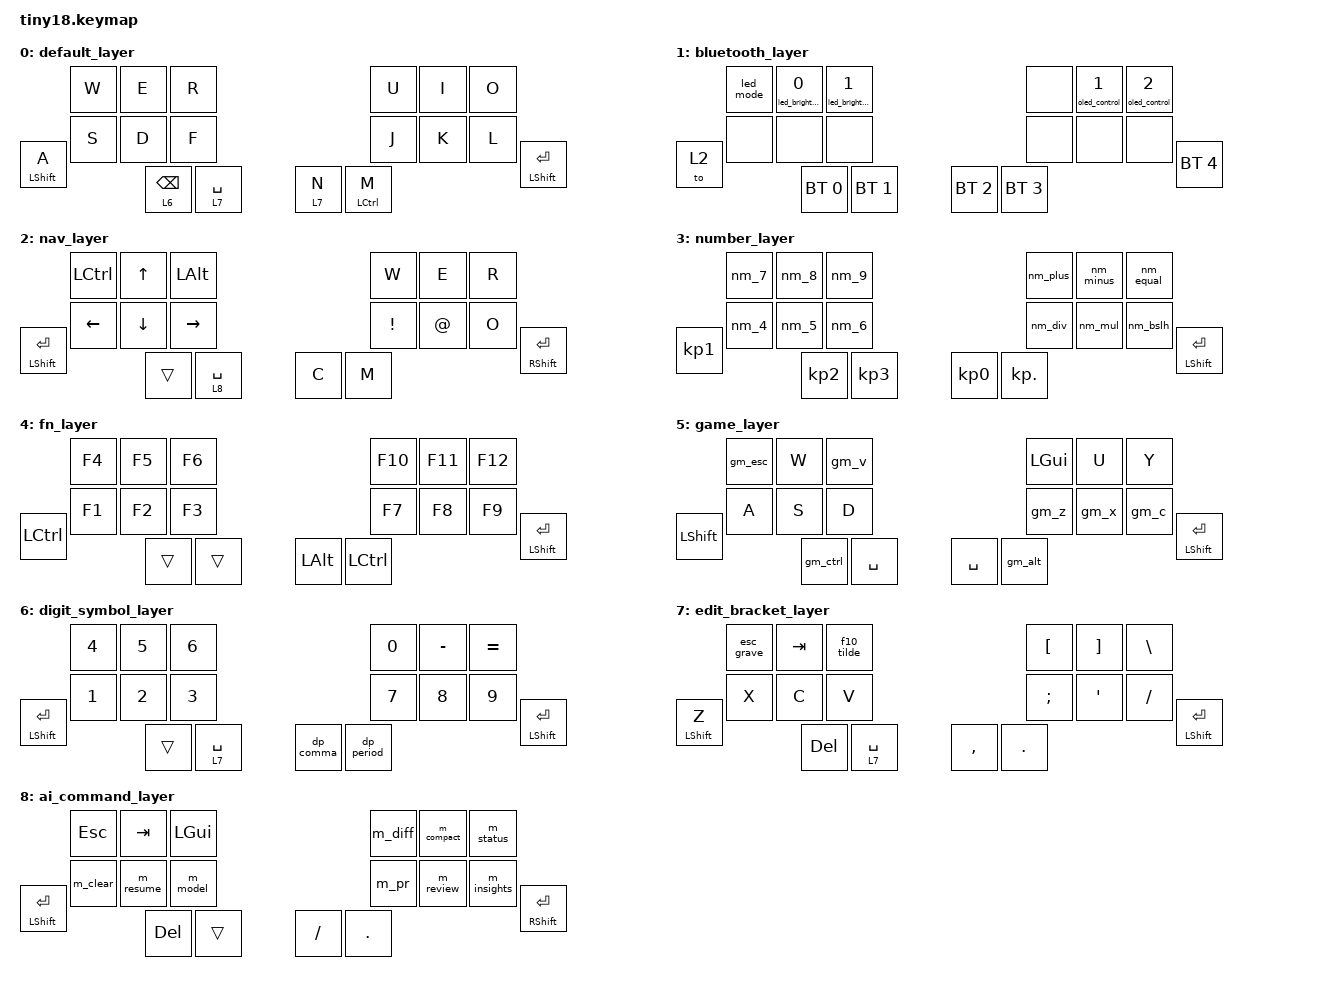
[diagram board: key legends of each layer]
#include <input/processors.dtsi>
#include <dt-bindings/zmk/input_transform.h>
#include <zephyr/dt-bindings/input/input-event-codes.h>
#include <behaviors.dtsi>
#include <dt-bindings/zmk/bt.h>
#include <dt-bindings/zmk/keys.h>

/*
 * The right-hand image is tiny18-right.uf2. AI mode has modifiers and
 * arrows on the left hand and letters, ! and @ on the right. Holding its
 * Space opens the AI command page.
 *
 * Six modes, entered by one pair of keys from supported non-Bluetooth modes:
 *   text entry  layer 0   green     0+2
 *   AI          layer 2   blue      7+9
 *   number      layer 3   yellow    10+12
 *   function    layer 4   magenta   3+5
 *   game        layer 5   cyan      2+7
 *   bluetooth   layer 1   red       5+10
 * 7+9 is left out of game mode, where those two keys are A and D, and so is
 * 2+7: from game mode it would only re-enter game mode and eat a V+A.
 * In Bluetooth mode, key 6 alone returns to AI. Mode-switch combos are
 * disabled there so profile selection cannot be confused with a mode change.
 *
 * Layers held rather than switched into:
 *   6  digits and symbols    hold key 14 (BackSpace)
 *   7  editing and brackets  hold key 15 (Space) or 16 (N) outside AI
 *   8  AI commands           hold key 15 (Space) in AI
 * They carry the two highest numbers on purpose. ZMK resolves a key from the
 * highest active layer down, so a held page only shows through a mode with
 * a lower number; at 6 and 7 the pages open from every mode whose thumbs
 * still hold them, which is all of them but number and game mode.
 *
 * In text entry, Alt remains the 2+9 chord and GUI the 3+10 chord.
 * AI has dedicated left Ctrl and Alt; its command page has GUI.
 * The IME toggle is E and F, 1+9, in text entry only.
 *
 * Key positions (see tiny18.dtsi default_transform):
 *         0   1   2         3   4   5
 *   6     7   8   9        10  11  12  13
 *         14  15           16  17
 *
 * The right hand rests on a trackball, so everything used daily has to be
 * reachable with the left nine keys: 0 1 2 6 7 8 9 14 15.
 *
 * An unassigned key is &none, not &trans, so it does nothing rather than
 * falling through to the layer below. The one exception is the pair of left
 * thumbs, keys 14 and 15: most modes inherit BackSpace and Space from
 * text entry. AI binds Space explicitly to its command page, and that
 * page and the ZXCV page put Delete on key 14. Key 13 is
 * Enter on tap and Shift on hold (right Shift in AI and its command page).
 * In text entry, AI mode and on the digit page, key 6 is a tap/hold key with
 * a longer term for the left little finger: A / Shift in text entry and
 * Enter / Shift elsewhere. Function mode holds Ctrl on key 6 instead, and
 * game mode keeps a plain Shift there.
 *
 * Held layers end on key release. Bluetooth leaves through key 6; the other
 * mode layers are left by combo.
 */

/ {
    behaviors {
        /*
         * Tap for the key, hold for the modifier. "balanced" rather than
         * ZMK's default hold-preferred: rolling from Enter straight into the
         * next key must still type Enter, and balanced only resolves to the hold
         * when the second key is released before this one. quick-tap lets a
         * doubled letter through.
         */
        bmt: balanced_mod_tap {
            compatible = "zmk,behavior-hold-tap";
            #binding-cells = <2>;
            flavor = "balanced";
            tapping-term-ms = <200>;
            quick-tap-ms = <175>;
            bindings = <&kp>, <&kp>;
        };

        /* Ctrl dual-role keys prefer text for 400 ms, regardless of another
         * key's release order. This protects every M-to-letter roll, including
         * M then O released before M. Hold for 400 ms to use Ctrl. */
        cmt: ctrl_mod_tap {
            compatible = "zmk,behavior-hold-tap";
            #binding-cells = <2>;
            flavor = "tap-preferred";
            tapping-term-ms = <400>;
            quick-tap-ms = <175>;
            bindings = <&kp>, <&kp>;
        };

        /* On the ZXCV page, tap Z; hold for left Shift after 400 ms.
         * A quick tap followed by another press within 175 ms holds Z for
         * host repeat, matching the letter and Space repeat gestures. */
        zmt: z_shift_mod_tap {
            compatible = "zmk,behavior-hold-tap";
            #binding-cells = <2>;
            flavor = "tap-preferred";
            tapping-term-ms = <400>;
            quick-tap-ms = <175>;
            bindings = <&kp>, <&kp>;
        };

        led_mode: led_mode_behavior {
            compatible = "tiny18,behavior-led-mode";
            #binding-cells = <0>;
            display-name = "Toggle LED mode";
        };

        led_brightness: led_brightness_behavior {
            compatible = "tiny18,behavior-led-brightness";
            #binding-cells = <1>;
            display-name = "Adjust LED brightness";
        };

        oled_control: oled_control_behavior {
            compatible = "tiny18,behavior-oled-control";
            #binding-cells = <1>;
            display-name = "Control OLED";
        };

        /* The left little finger uses 350 ms for A / Shift in text entry and
         * Enter / Shift in AI mode and on the digit page. The longer term
         * avoids turning a deliberate tap into Shift when it is released a
         * little slowly. */
        lmt: left_pinky_mod_tap {
            compatible = "zmk,behavior-hold-tap";
            #binding-cells = <2>;
            flavor = "balanced";
            tapping-term-ms = <350>;
            quick-tap-ms = <175>;
            bindings = <&kp>, <&kp>;
        };

        /*
         * BackSpace. ZMK's stock &lt has no quick-tap window, so holding
         * BackSpace down never repeats: the hold is spoken for by the digit
         * page. quick-tap-ms keeps a second press straight after a tap a tap,
         * so the host repeats it. Everything else stays stock &lt.
         *
         * retro-tap used to be here too, typing BackSpace when a hold went
         * unused. It came out on 2026-09-14: with retro-tap, ZMK does not
         * open the held layer when the tapping term ends but only once another
         * key goes down, so the learning display kept showing the base layer
         * while this thumb was held. If a press held a moment too long
         * deleting nothing turns out to matter more, put retro-tap back and
         * accept the late display.
         */
        blt: backspace_layer_tap {
            compatible = "zmk,behavior-hold-tap";
            #binding-cells = <2>;
            flavor = "tap-preferred";
            tapping-term-ms = <200>;
            quick-tap-ms = <175>;
            bindings = <&mo>, <&kp>;
        };

        /* Match BackSpace: tap Space, then press and hold it within 175 ms to
         * keep Space pressed for host repeat. A first hold still opens layer 7.
         * Use N to open layer 7 immediately after typing a Space. */
        slt: space_layer_tap {
            compatible = "zmk,behavior-hold-tap";
            #binding-cells = <2>;
            flavor = "tap-preferred";
            tapping-term-ms = <200>;
            quick-tap-ms = <175>;
            bindings = <&mo>, <&kp>;
        };

        /* The ZXCV page: Escape normally, the backquote with Shift. Tab
         * has its own key to the right since 2026-11-14. */
        esc_grave: escape_grave {
            compatible = "zmk,behavior-mod-morph";
            #binding-cells = <0>;
            bindings = <&m_esc>, <&kp GRAVE>;
            mods = <(MOD_LSFT|MOD_RSFT)>;
        };

        /* The ZXCV page: F10 normally, the tilde with Shift. Shift+F10
         * stays on function mode, whose F10 is a plain key. */
        f10_tilde: f10_tilde {
            compatible = "zmk,behavior-mod-morph";
            #binding-cells = <0>;
            bindings = <&kp F10>, <&kp TILDE>;
            mods = <(MOD_LSFT|MOD_RSFT)>;
        };

        /*
         * Number mode's second face. Shift is the right little finger there,
         * and holding it turns the twelve keys of the two upper rows into
         * everything a full keyboard has that eighteen keys had no room for:
         * the navigation block on the left, exactly where a full keyboard puts
         * it, and the locks and system keys on the right.
         *
         * A mod-morph rather than another layer keeps the second face tied
         * to the Shift key. The display now carries nine layers separately.
         *
         * Only those twelve keys carry a morph, the ones the learning display
         * drew when this was written (2026-09-16). The thumbs, the left little
         * finger and the Shift key itself were left alone: a key that changes
         * without showing it on the display is a key you cannot learn. The
         * display has drawn all eighteen keys since 2026-09-17, so a morph on
         * those would now show.
         */
        nm_7: nm_7 {
            compatible = "zmk,behavior-mod-morph";
            #binding-cells = <0>;
            bindings = <&kp KP_N7>, <&kp INSERT>;
            mods = <(MOD_LSFT|MOD_RSFT)>;
        };

        nm_8: nm_8 {
            compatible = "zmk,behavior-mod-morph";
            #binding-cells = <0>;
            bindings = <&kp KP_N8>, <&kp HOME>;
            mods = <(MOD_LSFT|MOD_RSFT)>;
        };

        nm_9: nm_9 {
            compatible = "zmk,behavior-mod-morph";
            #binding-cells = <0>;
            bindings = <&kp KP_N9>, <&kp PAGE_UP>;
            mods = <(MOD_LSFT|MOD_RSFT)>;
        };

        nm_4: nm_4 {
            compatible = "zmk,behavior-mod-morph";
            #binding-cells = <0>;
            bindings = <&kp KP_N4>, <&kp DELETE>;
            mods = <(MOD_LSFT|MOD_RSFT)>;
        };

        nm_5: nm_5 {
            compatible = "zmk,behavior-mod-morph";
            #binding-cells = <0>;
            bindings = <&kp KP_N5>, <&kp END>;
            mods = <(MOD_LSFT|MOD_RSFT)>;
        };

        nm_6: nm_6 {
            compatible = "zmk,behavior-mod-morph";
            #binding-cells = <0>;
            bindings = <&kp KP_N6>, <&kp PAGE_DOWN>;
            mods = <(MOD_LSFT|MOD_RSFT)>;
        };

        nm_plus: nm_plus {
            compatible = "zmk,behavior-mod-morph";
            #binding-cells = <0>;
            bindings = <&kp KP_PLUS>, <&kp PRINTSCREEN>;
            mods = <(MOD_LSFT|MOD_RSFT)>;
        };

        nm_minus: nm_minus {
            compatible = "zmk,behavior-mod-morph";
            #binding-cells = <0>;
            bindings = <&kp KP_MINUS>, <&kp K_APP>;
            mods = <(MOD_LSFT|MOD_RSFT)>;
        };

        nm_equal: nm_equal {
            compatible = "zmk,behavior-mod-morph";
            #binding-cells = <0>;
            bindings = <&kp EQUAL>, <&kp CAPS>;
            mods = <(MOD_LSFT|MOD_RSFT)>;
        };

        nm_div: nm_div {
            compatible = "zmk,behavior-mod-morph";
            #binding-cells = <0>;
            bindings = <&kp KP_SLASH>, <&kp KP_NUMLOCK>;
            mods = <(MOD_LSFT|MOD_RSFT)>;
        };

        nm_mul: nm_mul {
            compatible = "zmk,behavior-mod-morph";
            #binding-cells = <0>;
            bindings = <&kp KP_ASTERISK>, <&kp SCROLLLOCK>;
            mods = <(MOD_LSFT|MOD_RSFT)>;
        };

        nm_bslh: nm_bslh {
            compatible = "zmk,behavior-mod-morph";
            #binding-cells = <0>;
            bindings = <&kp BACKSLASH>, <&kp PAUSE_BREAK>;
            mods = <(MOD_LSFT|MOD_RSFT)>;
        };

        /* The digit page's right thumbs type punctuation, or parentheses
         * when Shift is held. The parentheses carry their own implicit Shift. */
        dp_comma: dp_comma {
            compatible = "zmk,behavior-mod-morph";
            #binding-cells = <0>;
            bindings = <&kp COMMA>, <&kp LEFT_PARENTHESIS>;
            mods = <(MOD_LSFT|MOD_RSFT)>;
        };

        dp_period: dp_period {
            compatible = "zmk,behavior-mod-morph";
            #binding-cells = <0>;
            bindings = <&kp PERIOD>, <&kp RIGHT_PARENTHESIS>;
            mods = <(MOD_LSFT|MOD_RSFT)>;
        };

        /*
         * Game mode's second face, the same mechanism as number mode's. Key 6
         * is a plain Shift there and is also the run key, so Shift is kept
         * off everything used while running: W, A, S and D, GUI, U and Y,
         * and the two Spaces stay put. What changes is Escape to Tab, V to R, the
         * right home row's Z X C to G M K, and the thumbs' left Ctrl and left
         * Alt to their right-hand twins. Escape's Shift face was Z until
         * 2026-10-22; Z is on the right home row already, and the game had
         * no Tab.
         *
         * ZMK masks the triggering Shift for as long as a morphed key is
         * held, so a run pauses for that moment. keep-mods would stop that,
         * but it sends Shift+G and Shift with right Ctrl instead, and on
         * 2026-09-17 the plain keys were the ones wanted.
         *
         * The two thumbs went past the rule above, which kept morphs to the
         * keys the learning display drew. They were asked for anyway, and
         * since 2026-09-17 the display draws the thumbs as well.
         */
        gm_esc: gm_esc {
            compatible = "zmk,behavior-mod-morph";
            #binding-cells = <0>;
            bindings = <&kp ESCAPE>, <&kp TAB>;
            mods = <(MOD_LSFT|MOD_RSFT)>;
        };

        gm_v: gm_v {
            compatible = "zmk,behavior-mod-morph";
            #binding-cells = <0>;
            bindings = <&kp V>, <&kp R>;
            mods = <(MOD_LSFT|MOD_RSFT)>;
        };

        gm_z: gm_z {
            compatible = "zmk,behavior-mod-morph";
            #binding-cells = <0>;
            bindings = <&kp Z>, <&kp G>;
            mods = <(MOD_LSFT|MOD_RSFT)>;
        };

        gm_x: gm_x {
            compatible = "zmk,behavior-mod-morph";
            #binding-cells = <0>;
            bindings = <&kp X>, <&kp M>;
            mods = <(MOD_LSFT|MOD_RSFT)>;
        };

        gm_c: gm_c {
            compatible = "zmk,behavior-mod-morph";
            #binding-cells = <0>;
            bindings = <&kp C>, <&kp K>;
            mods = <(MOD_LSFT|MOD_RSFT)>;
        };

        gm_ctrl: gm_ctrl {
            compatible = "zmk,behavior-mod-morph";
            #binding-cells = <0>;
            bindings = <&kp LCTRL>, <&kp RCTRL>;
            mods = <(MOD_LSFT|MOD_RSFT)>;
        };

        gm_alt: gm_alt {
            compatible = "zmk,behavior-mod-morph";
            #binding-cells = <0>;
            bindings = <&kp LALT>, <&kp RALT>;
            mods = <(MOD_LSFT|MOD_RSFT)>;
        };
    };

    /* AI command macros type LANG2 followed by the literal slash command.
     * They do not send Enter. Hold only Space while invoking them; held
     * modifiers are outside the supported command gesture. */
    macros {
        /*
         * One Escape, pressed and released. esc_grave uses it so Escape cannot
         * turn into a run of Escapes while the key is held.
         */
        m_esc: m_esc {
            compatible = "zmk,behavior-macro";
            #binding-cells = <0>;
            bindings = <&macro_tap &kp ESCAPE>;
        };

        m_status: m_status {
            compatible = "zmk,behavior-macro";
            #binding-cells = <0>;
            bindings = <&macro_tap &kp LANG2 &kp SLASH &kp S &kp T &kp A &kp T &kp U &kp S>;
        };

        m_model: m_model {
            compatible = "zmk,behavior-macro";
            #binding-cells = <0>;
            bindings = <&macro_tap &kp LANG2 &kp SLASH &kp M &kp O &kp D &kp E &kp L>;
        };
        m_clear: m_clear {
            compatible = "zmk,behavior-macro";
            #binding-cells = <0>;
            bindings = <&macro_tap &kp LANG2 &kp SLASH &kp C &kp L &kp E &kp A &kp R>;
        };
        m_resume: m_resume {
            compatible = "zmk,behavior-macro";
            #binding-cells = <0>;
            bindings = <&macro_tap &kp LANG2 &kp SLASH &kp R &kp E &kp S &kp U &kp M &kp E>;
        };
        m_diff: m_diff {
            compatible = "zmk,behavior-macro";
            #binding-cells = <0>;
            bindings = <&macro_tap &kp LANG2 &kp SLASH &kp D &kp I &kp F &kp F>;
        };
        m_compact: m_compact {
            compatible = "zmk,behavior-macro";
            #binding-cells = <0>;
            bindings = <&macro_tap &kp LANG2 &kp SLASH &kp C &kp O &kp M &kp P &kp A &kp C &kp T>;
        };
        m_pr: m_pr {
            compatible = "zmk,behavior-macro";
            #binding-cells = <0>;
            bindings = <&macro_tap &kp LANG2 &kp SLASH &kp P &kp R>;
        };
        m_review: m_review {
            compatible = "zmk,behavior-macro";
            #binding-cells = <0>;
            bindings = <&macro_tap &kp LANG2 &kp SLASH &kp R &kp E &kp V &kp I &kp E &kp W>;
        };
        m_insights: m_insights {
            compatible = "zmk,behavior-macro";
            #binding-cells = <0>;
            bindings = <&macro_tap &kp LANG2 &kp SLASH &kp I &kp N &kp S &kp I &kp G &kp H &kp T &kp S>;
        };
    };

    combos {
        compatible = "zmk,combos";

        /* Letter combos on the base layer. */
        q {
            bindings = <&kp Q>;
            key-positions = <0 1>;
            layers = <0>;
        };

        t {
            bindings = <&kp T>;
            key-positions = <1 2>;
            layers = <0>;
        };

        /* A also has a key of its own now - key 6 taps it - but the chord stays
         * so the letter combos keep their shape across the home row. */
        a {
            bindings = <&kp A>;
            key-positions = <7 8>;
            layers = <0>;
        };

        y {
            bindings = <&kp Y>;
            key-positions = <3 4>;
            layers = <0>;
        };

        p {
            bindings = <&kp P>;
            key-positions = <4 5>;
            layers = <0>;
        };

        g {
            bindings = <&kp G>;
            key-positions = <8 9>;
            layers = <0>;
        };

        h {
            bindings = <&kp H>;
            key-positions = <10 11>;
            layers = <0>;
        };

        slash {
            bindings = <&kp SLASH>;
            key-positions = <11 12>;
            layers = <0 7>;
        };

        /* B shares its positions with c and v on the layer 15 opens, so typing
         * cv faster than the combo window gives the combo instead. */
        b {
            bindings = <&kp B>;
            key-positions = <8 9>;
            layers = <7>;
        };

        n {
            bindings = <&kp N>;
            key-positions = <10 11>;
            layers = <7>;
        };

        /* AI shortcuts use combos on layer 2. */
        ai_copy {
            bindings = <&kp LC(C)>;
            key-positions = <0 1>;
            layers = <2>;
        };
        ai_paste {
            bindings = <&kp LC(V)>;
            key-positions = <1 2>;
            layers = <2>;
        };
        ai_undo {
            bindings = <&kp LC(Z)>;
            key-positions = <0 7>;
            layers = <2>;
        };
        ai_newline {
            bindings = <&kp LC(J)>;
            key-positions = <2 9>;
            layers = <2>;
        };
        /*
         * The right hand types W E R, ! @ O and C M in AI mode since
         * 2026-10-22, so these three chords sit on letters: W+!, W+E and
         * R+O. require-prior-idle-ms keeps a rolled "we" or "ro" from
         * firing them; they answer only from a standstill, like the mode
         * switches.
         */
        ai_redo {
            bindings = <&kp LC(LS(Z))>;
            key-positions = <3 10>;
            layers = <2>;
            require-prior-idle-ms = <150>;
        };
        ai_cut {
            bindings = <&kp LC(X)>;
            key-positions = <3 4>;
            layers = <2>;
            require-prior-idle-ms = <150>;
        };
        ai_find {
            bindings = <&kp LC(F)>;
            key-positions = <5 12>;
            layers = <2>;
            require-prior-idle-ms = <150>;
        };
        /*
         * Left Alt triggers voice input, so it gets one gesture that works the
         * in text entry: the index finger's two keys, R above
         * F. It was F and Space until 2026-09-16, which had the same twin the
         * IME chord did - V is Space held and F tapped - so it moved off the
         * thumb.
         *
         * require-prior-idle-ms came with the move. Two letters with no idle
         * condition would fire mid-word: "perfect" and "surface" both roll r
         * into f. With it, the chord only answers from a standstill, which is
         * how voice input and Alt+Tab are reached anyway, and no word begins
         * "rf". Left out of game mode, where these are V and D.
         */
        lalt {
            bindings = <&kp LEFT_ALT>;
            key-positions = <2 9>;
            layers = <0>;
            require-prior-idle-ms = <150>;
        };

        /*
         * GUI gets the same treatment on the right hand: index finger on the
         * top and home rows, U and J. Text entry only: game mode has GUI as
         * a key of its own on key 3.
         */
        lgui {
            bindings = <&kp LEFT_GUI>;
            key-positions = <3 10>;
            layers = <0>;
        };

        /*
         * The IME toggle, Ctrl+Space on both hosts, is E and F together:
         * middle finger on the top row, index finger on the home row. It has moved
         * three times, and each move fixed the same kind of collision.
         *
         * A key of its own on the editing page meant holding one thumb to tap
         * the other. The two left thumbs together were hard to press at all.
         * S and Space, from 2026-09-16, collided with the letter X: X is Space
         * held and S tapped, so the same two keys meant two things and only
         * the timing told them apart. Any chord using a thumb has that
         * problem, because a held thumb is what opens the pages.
         *
         * E+F has no such twin, and the middle finger reaching one row up to
         * the index finger's home key is the easiest of the pairs to hit while
         * typing Japanese. "ef" only begins a word in "effort" and its
         * relatives, and require-prior-idle-ms means the front of a word is
         * the only place the combo can fire at all. W+F held the chord for a
         * few hours on 2026-09-16; it is safer on paper and worse under the
         * hand.
         *
         * Text entry only, as of 2026-09-16. AI mode used to have it too, but
         * its left hand types no letters and its right-hand letters are for
         * short replies, not Japanese, so the IME is never changed there;
         * leaving it out also keeps the chord off the left up and right
         * arrows, which do get pressed together.
         */
        ime {
            bindings = <&kp LC(SPACE)>;
            key-positions = <1 9>;
            layers = <0>;
            require-prior-idle-ms = <150>;
        };

        /* Direct IME selection chords, limited to text entry. */
        ime_japanese {
            bindings = <&kp LANG1>;
            key-positions = <1 8>;
            layers = <0>;
            require-prior-idle-ms = <150>;
        };
        ime_english {
            bindings = <&kp LANG2>;
            key-positions = <0 7>;
            layers = <0>;
            require-prior-idle-ms = <150>;
        };

        /*
         * Mode switching uses the same combos in AI. Bluetooth mode uses a
         * dedicated key to leave, so none of these combos is active there.
         *
         * require-prior-idle-ms is what makes this safe. In number mode the
         * switch positions carry digits - 0 and 2 are 7 and 9, 7 and 9 are 4
         * and 6 - and in game mode 0 and 2 are Escape and V, 10 and 12 are Z
         * and C, 3 and 5 are GUI and Y, 5 and 10 are Y and Z, so typing quickly
         * would otherwise throw you into another mode.
         * Holding off for 150 ms after the last keypress means a switch only
         * fires from a standstill. It also stops 10+12 and 3+5 misfiring
         * between H, /, Y and P while typing.
         */
        mode_text {
            bindings = <&to 0>;
            key-positions = <0 2>;
            layers = <0 2 3 4 5>;
            require-prior-idle-ms = <150>;
        };

        /*
         * Game mode is the one place this gesture is left out: positions 7 and
         * 9 are A and D there, and pressing both is ordinary strafing. Reach
         * AI mode from game mode via text entry.
         */
        mode_ai {
            bindings = <&to 2>;
            key-positions = <7 9>;
            layers = <0 2 3 4>;
            require-prior-idle-ms = <150>;
        };

        mode_num {
            bindings = <&to 3>;
            key-positions = <10 12>;
            layers = <0 2 3 4 5>;
            require-prior-idle-ms = <150>;
        };

        /* Not live in game mode itself: &to 5 from layer 5 does nothing, and
         * with V on key 2 and A on key 7 there the chord would only swallow a
         * V+A. */
        mode_game {
            bindings = <&to 5>;
            key-positions = <2 7>;
            layers = <0 2 3 4>;
            require-prior-idle-ms = <150>;
        };

        mode_fn {
            bindings = <&to 4>;
            key-positions = <3 5>;
            layers = <0 2 3 4 5>;
            require-prior-idle-ms = <150>;
        };

        mode_bt {
            bindings = <&to 1>;
            key-positions = <5 10>;
            layers = <0 2 3 4 5>;
            require-prior-idle-ms = <150>;
        };

        /* Number mode. The left hand keeps a 0 and a decimal point on the
         * pairs holding 1 and 2, and 2 and 3. */
        num_zero_l {
            bindings = <&kp KP_N0>;
            key-positions = <6 14>;
            layers = <3>;
        };

        num_dot_l {
            bindings = <&kp KP_DOT>;
            key-positions = <14 15>;
            layers = <3>;
        };

        /*
         * Keypad codes are what the host sees, so a digit only arrives as a
         * digit while Num Lock is on; with it off the same usages are Home,
         * the arrows and Insert. ZMK can read that state through
         * CONFIG_ZMK_HID_INDICATORS but has no stock behavior that branches
         * on it, and sending Num Lock on entry would turn it off half the
         * time. This chord is the manual fix instead. prior-idle keeps it
         * from firing while typing the apostrophe and the decimal point.
         */
        num_lock {
            bindings = <&kp KP_NUMLOCK>;
            key-positions = <9 10>;
            layers = <3>;
            require-prior-idle-ms = <150>;
        };

    };

    keymap {
        compatible = "zmk,keymap";

        default_layer {
            bindings = <
&kp W  &kp E  &kp R  &kp U  &kp I  &kp O  &lmt LSHFT A  &kp S  &kp D  &kp F  &kp J  &kp K  &kp L  &bmt LSHFT ENTER  &blt 6 BACKSPACE  &slt 7 SPACE  &lt 7 N  &cmt LCTRL M
            >;
        };

        /* Profile selection is on the four thumbs and right pinky. Key 6
         * returns directly to AI. Mode-switch combos have no Bluetooth scope.
         * The top rows control the right RGB LED and optional OLED.
         * RGB brightness 0% suppresses battery and connection notices. */
        bluetooth_layer {
            bindings = <
&led_mode  &led_brightness 0  &led_brightness 1  &none  &oled_control 1  &oled_control 2  &to 2  &none  &none  &none  &none  &none  &none  &bt BT_SEL 4  &bt BT_SEL 0  &bt BT_SEL 1  &bt BT_SEL 2  &bt BT_SEL 3
            >;
        };

        /*
         * AI mode. The left hand keeps left Ctrl, up and left Alt on the top
         * row and left, down, right on the home row; simultaneous key combos
         * on those keys select shortcuts and mode changes. Since 2026-10-22
         * the right hand no longer mirrors the left: it types W E R on the
         * top row, ! @ O on the home row and C M on the thumbs, for short
         * replies without leaving the mode. Key 6 holds left Shift and key
         * 13 holds right Shift. Space opens layer 8 on hold, while BackSpace
         * keeps its digit page.
         */
        nav_layer {
            bindings = <
&kp LCTRL  &kp UP_ARROW  &kp LALT  &kp W  &kp E  &kp R  &lmt LSHFT ENTER  &kp LEFT_ARROW  &kp DOWN_ARROW  &kp RIGHT_ARROW  &kp EXCLAMATION  &kp AT_SIGN  &kp O  &bmt RSHFT ENTER  &trans  &slt 8 SPACE  &kp C  &kp M
            >;
        };

        /*
         * Number mode. The left hand is a keypad and key 13 is the text-entry
         * Enter, tap for Enter and hold for Shift, so a figure can be
         * confirmed without leaving the mode.
         *
         * The right hand is the rest of a calculator: plus, minus and equals
         * on the top row, divide and multiply below them, and the backslash.
         * The brackets left on 2026-09-16 for the two operators; they are
         * Shift over 9 and 0 or the right thumbs on the digit page. The
         * top-row zero went to plus, and zero is still on the right thumb
         * and the A+BackSpace chord.
         *
         * Holding Shift here turns the twelve keys of the two upper rows into
         * the navigation block and the system keys; see the mod-morphs above.
         * Digits and the point are keypad usages, so an IME passes them through
         * as half width - the reason for this mode - but they need Num Lock.
         * The point has a key of its own here as well as the 14+15 chord,
         * because typing a decimal is the whole reason for this mode. There
         * is no BackSpace and no semicolon.
         *
         * The left thumbs are not the text-entry thumbs here: keys 14 and 15
         * are 2 and 3 of the keypad, and 14+15 is the decimal point. Game mode
         * is the only other layer like that.
         */
        number_layer {
            bindings = <
&nm_7  &nm_8  &nm_9  &nm_plus  &nm_minus  &nm_equal  &kp KP_N1  &nm_4  &nm_5  &nm_6  &nm_div  &nm_mul  &nm_bslh  &bmt LSHFT ENTER  &kp KP_N2  &kp KP_N3  &kp KP_N0  &kp KP_DOT
            >;
        };

        /*
         * Function mode. Each F key sits where its digit sits on the digit
         * page, so F10 to F12 take the places of 0, - and =. The A key holds
         * Ctrl and the Enter key is the text-entry Enter, tap for Enter and
         * hold for Shift, for chords such as Ctrl+F5 and Shift+F10. The left
         * thumbs are &trans, so BackSpace, Space and the pages they hold work
         * here as well.
         *
         * The right thumbs are Alt on key 16 and Ctrl on key 17, plain keys
         * because nothing here needs their taps. Key 17 is the thumb that
         * holds Ctrl in text entry, and reaching for it here found
         * a dead key (2026-09-17), so it is Ctrl here as well. Alt went to
         * key 16 rather than 17 so that the same habit before F4 gives
         * Ctrl+F4, which closes a tab, and never Alt+F4, which closes the
         * window.
         */
        fn_layer {
            bindings = <
&kp F4  &kp F5  &kp F6  &kp F10  &kp F11  &kp F12  &kp LCTRL  &kp F1  &kp F2  &kp F3  &kp F7  &kp F8  &kp F9  &bmt LSHFT ENTER  &trans  &trans  &kp LALT  &kp LCTRL
            >;
        };

        /*
         * VRChat. W sits directly above S, so 1/7/8/9 form the usual WASD
         * diamond, with Escape just left of W to open the menu and V, the
         * microphone, on R's key. The right top row is GUI, U and Y: GUI
         * sits on U's key and replaces text entry's 3+10 chord here. The
         * right home row is Z X C. Key 6 stays a plain Shift, the run key,
         * and key 13 is the text-entry Enter with Shift on hold.
         *
         * The thumbs are left Ctrl, two Spaces and left Alt, so jump is under
         * either thumb. They are not &trans here, which costs the text-entry
         * BackSpace and both pages: chat in this mode has letters, Space and
         * Enter, and anything more means going back to text entry.
         *
         * Holding Shift gives the second face through the gm_ mod-morphs
         * above: Tab on Escape's key, R on V's, G M K on the right home row,
         * and right Ctrl and right Alt on the thumbs. Nothing else changes.
         */
        game_layer {
            bindings = <
&gm_esc  &kp W  &gm_v  &kp LGUI  &kp U  &kp Y  &kp LSHFT  &kp A  &kp S  &kp D  &gm_z  &gm_x  &gm_c  &bmt LSHFT ENTER  &gm_ctrl  &kp SPACE  &kp SPACE  &gm_alt
            >;
        };

        /* Hold key 14 (BackSpace): a number pad split across both hands. The
         * home rows carry 1 2 3 and 7 8 9, the top rows 4 5 6 and 0 - =, so
         * the digits typed most often sit under resting fingers. Keys 6 and
         * 13 are both the text-entry Enter, tap for Enter and hold for
         * Shift, so Shift plus these digits gives the symbol row from
         * whichever hand is free and a figure can be confirmed without
         * letting go of the page.
         *
         * Key 14 is transparent; 15 explicitly keeps the ZXCV hold target,
         * including when this page opened from AI. The right thumbs type comma
         * and period, or parentheses when Shift is held. The top-row minus
         * and equals retain their underscore and plus Shift outputs. */
        digit_symbol_layer {
            bindings = <
&kp N4  &kp N5  &kp N6  &kp N0  &kp MINUS  &kp EQUAL  &lmt LSHFT ENTER  &kp N1  &kp N2  &kp N3  &kp N7  &kp N8  &kp N9  &bmt LSHFT ENTER  &trans  &slt 7 SPACE  &dp_comma  &dp_period
            >;
        };

        /* Hold key 15 (Space) or 16 (N): Escape, Tab, F10 and the brackets
         * on the top row, Z X C V on the left home row, punctuation on the right,
         * the text-entry Enter on 13 with Shift on its hold, the comma and
         * the full stop on the right thumbs. B is a combo on the C and V
         * keys. Key 6 is Z on tap and left Shift after 400 ms, so both
         * little fingers can provide Shift on this page.
         *
         * The right thumbs are the comma and the full stop, as on the digit
         * page. Copy and paste have no keys of their own here:
         * hold both this page and the Ctrl on key 17, then tap C or V on the
         * left home row - the same shape that already gives Ctrl+Z and
         * Ctrl+X.
         *
         * Key 14 is Delete, as on the AI command page, since 2026-11-14, so
         * Space and BackSpace give Delete in text entry as they do in AI.
         * Key 15 keeps the ZXCV hold target. The thumbs used to
         * carry the IME toggle and a question mark: the toggle is now the
         * E+F chord, and the question mark is Shift over the slash on
         * this page. Z taps as Z, holds for left Shift after 400 ms, and
         * repeats when pressed again within 175 ms after a tap.
         *
         * Since 2026-11-14 key 1 is a plain Tab, so Shift+Tab is Shift with
         * it, and the backquote and tilde moved to the Shift faces of
         * Escape and F10. */
        edit_bracket_layer {
            bindings = <
&esc_grave  &kp TAB  &f10_tilde  &kp LEFT_BRACKET  &kp RIGHT_BRACKET  &kp BACKSLASH  &zmt LSHFT Z  &kp X  &kp C  &kp V  &kp SEMICOLON  &kp SINGLE_QUOTE  &kp SLASH  &bmt LSHFT ENTER  &kp DELETE  &slt 7 SPACE  &kp COMMA  &kp PERIOD
            >;
        };

        ai_command_layer {
            bindings = <
&kp ESCAPE  &kp TAB  &kp LGUI  &m_diff  &m_compact  &m_status  &lmt LSHFT ENTER  &m_clear  &m_resume  &m_model  &m_pr  &m_review  &m_insights  &bmt RSHFT ENTER  &kp DELETE  &trans  &kp SLASH  &kp PERIOD
            >;
        };
    };
};
